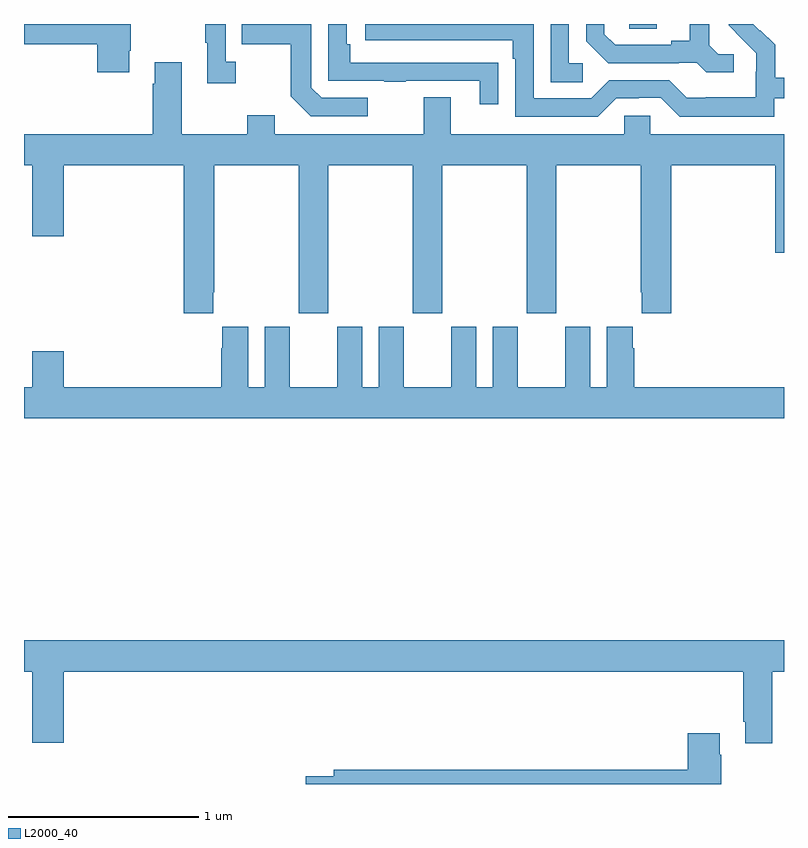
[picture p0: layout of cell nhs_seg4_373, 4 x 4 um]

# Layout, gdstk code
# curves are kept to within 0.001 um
import gdstk
lib = gdstk.Library(unit=1e-6, precision=1e-09)
def R(c, l, rs):  # rectangles x0, y0, x1, y1
    for r in rs: c.add(gdstk.rectangle(r[:2], r[2:], *l))
def P(c, l, *ps):  # polygons
    for p in ps: c.add(gdstk.Polygon(p, *l))
L2000_40 = (2000, 40)

nhs_seg4_373 = lib.new_cell('nhs_seg4_373')
R(nhs_seg4_373, L2000_40, [(132.186,794.875,132.331,794.9)])
P(nhs_seg4_373, L2000_40, [(130.81,794.511),(130.566,794.511),(130.512,794.565),(130.512,794.9),(130.147,794.9),(130.147,794.794),(130.404,794.794),(130.404,794.521),(130.509,794.415),(130.81,794.415)],
  [(132.736,794.742),(132.654,794.742),(132.607,794.789),(132.607,794.9),(132.503,794.9),(132.503,794.813),(132.407,794.813),(132.407,794.79),(132.112,794.79),(132.055,794.847),(132.055,794.9),(131.958,794.9),(131.958,794.81),(132.074,794.694),(132.446,794.694),(132.446,794.697),(132.54,794.697),(132.592,794.645),(132.736,794.645)],
  [(131.941,794.694),(131.868,794.694),(131.868,794.9),(131.772,794.9),(131.772,794.593),(131.941,794.593)],
  [(129.553,794.758),(129.561,794.758),(129.561,794.9),(129,794.9),(129,794.794),(129.386,794.794),(129.386,794.646),(129.553,794.646)],
  [(132.948,794.508),(133,794.508),(133,794.617),(132.953,794.617),(132.953,794.791),(132.876,794.868),(132.873,794.865),(132.838,794.9),(132.708,794.9),(132.708,794.894),(132.854,794.746),(132.854,794.649),(132.852,794.649),(132.852,794.515),(132.589,794.515),(132.589,794.511),(132.489,794.511),(132.396,794.604),(132.081,794.604),(131.985,794.508),(131.682,794.508),(131.682,794.9),(130.797,794.9),(130.797,794.814),(131.573,794.814),(131.573,794.717),(131.586,794.717),(131.586,794.412),(132.021,794.412),(132.117,794.508),(132.236,794.508),(132.236,794.511),(132.351,794.511),(132.451,794.411),(132.948,794.411)],
  [(130.114,794.702),(130.062,794.702),(130.062,794.9),(129.954,794.9),(129.954,794.801),(129.965,794.801),(129.965,794.589),(130.114,794.589)],
  [(131.495,794.696),(131.393,794.696),(131.393,794.697),(130.718,794.697),(130.718,794.794),(130.698,794.794),(130.698,794.9),(130.602,794.9),(130.602,794.601),(130.897,794.601),(130.897,794.596),(131.009,794.596),(131.009,794.601),(131.399,794.601),(131.399,794.478),(131.495,794.478)],
  [(129.997,793.489),(130.002,793.489),(130.002,794.156),(130.447,794.156),(130.447,793.377),(130.602,793.377),(130.602,794.156),(131.047,794.156),(131.047,793.377),(131.202,793.377),(131.202,794.156),(131.647,794.156),(131.647,793.377),(131.802,793.377),(131.802,794.156),(132.247,794.156),(132.247,793.489),(132.251,793.489),(132.251,793.377),(132.407,793.377),(132.407,794.156),(132.953,794.156),(132.953,793.695),(133,793.695),(133,794.32),(132.297,794.32),(132.297,794.418),(132.159,794.418),(132.159,794.32),(131.245,794.32),(131.245,794.515),(131.105,794.515),(131.105,794.32),(130.321,794.32),(130.321,794.419),(130.174,794.419),(130.174,794.32),(129.829,794.32),(129.829,794.698),(129.689,794.698),(129.689,794.585),(129.677,794.585),(129.677,794.32),(129,794.32),(129,794.156),(129.044,794.156),(129.044,793.782),(129.208,793.782),(129.208,794.156),(129.842,794.156),(129.842,793.377),(129.997,793.377)],
  [(133,792.988),(132.212,792.988),(132.212,793.193),(132.205,793.193),(132.205,793.306),(132.068,793.306),(132.068,792.988),(131.98,792.988),(131.98,793.306),(131.849,793.306),(131.849,792.988),(131.599,792.988),(131.599,793.306),(131.468,793.306),(131.468,792.988),(131.38,792.988),(131.38,793.306),(131.249,793.306),(131.249,792.988),(130.999,792.988),(130.999,793.306),(130.868,793.306),(130.868,792.988),(130.78,792.988),(130.78,793.306),(130.649,793.306),(130.649,792.988),(130.399,792.988),(130.399,793.306),(130.268,793.306),(130.268,792.988),(130.18,792.988),(130.18,793.306),(130.043,793.306),(130.043,793.193),(130.037,793.193),(130.037,792.988),(129.208,792.988),(129.208,793.177),(129.044,793.177),(129.044,792.988),(129,792.988),(129,792.824),(133,792.824)],
  [(132.937,791.492),(133,791.492),(133,791.656),(129,791.656),(129,791.492),(129.044,791.492),(129.044,791.118),(129.208,791.118),(129.208,791.492),(132.785,791.492),(132.785,791.227),(132.797,791.227),(132.797,791.115),(132.937,791.115)],
  [(132.669,791.054),(132.661,791.054),(132.661,791.167),(132.494,791.167),(132.494,790.976),(130.631,790.976),(130.631,790.94),(130.482,790.94),(130.482,790.9),(132.669,790.9)])

lib.write_gds('nhs_seg4_373.gds')
